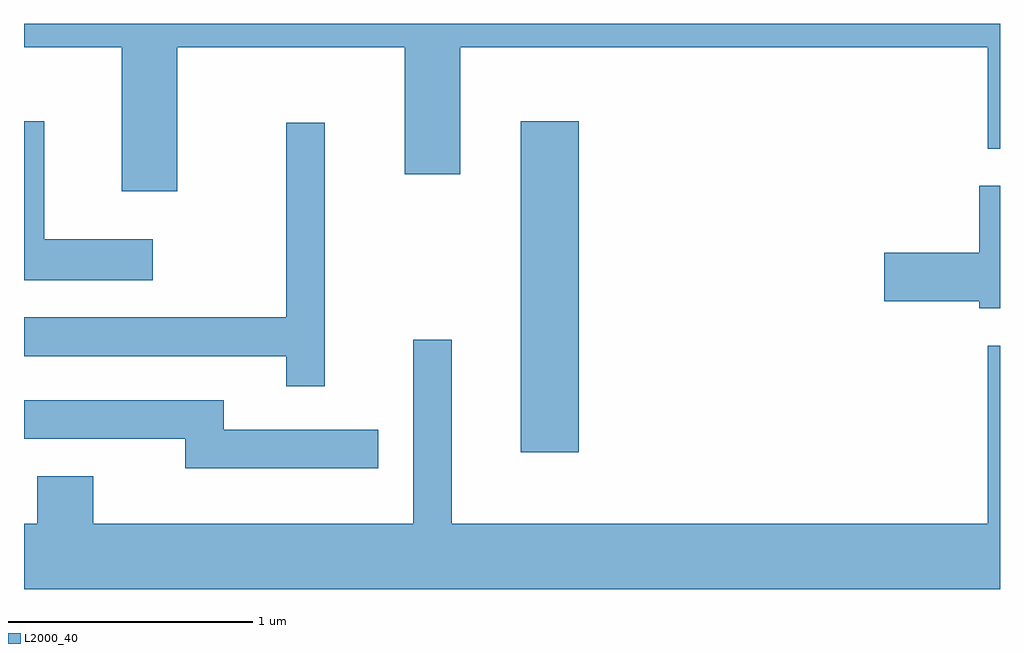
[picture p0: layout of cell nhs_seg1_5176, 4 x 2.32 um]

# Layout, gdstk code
import gdstk
lib = gdstk.Library(unit=1e-6, precision=1e-09)
def R(c, l, rs):  # rectangles x0, y0, x1, y1
    for r in rs: c.add(gdstk.rectangle(r[:2], r[2:], *l))
def P(c, l, *ps):  # polygons
    for p in ps: c.add(gdstk.Polygon(p, *l))
L2000_40 = (2000, 40)

nhs_seg1_5176 = lib.new_cell('nhs_seg1_5176')
R(nhs_seg1_5176, L2000_40, [(343.646,857.956,343.884,859.314)])
P(nhs_seg1_5176, L2000_40, [(342.239,859.616),(343.171,859.616),(343.171,859.096),(343.399,859.096),(343.399,859.616),(345.561,859.616),(345.561,859.201),(345.611,859.201),(345.611,859.712),(341.611,859.712),(341.611,859.616),(342.011,859.616),(342.011,859.026),(342.239,859.026)],
  [(342.138,858.829),(341.694,858.829),(341.694,859.314),(341.611,859.314),(341.611,858.661),(342.138,858.661)],
  [(342.844,859.308),(342.686,859.308),(342.686,858.509),(341.611,858.509),(341.611,858.351),(342.686,858.351),(342.686,858.228),(342.844,858.228)],
  [(345.611,859.049),(345.526,859.049),(345.526,858.774),(345.136,858.774),(345.136,858.576),(345.526,858.576),(345.526,858.546),(345.611,858.546)],
  [(345.611,858.394),(345.561,858.394),(345.561,857.664),(343.364,857.664),(343.364,858.418),(343.206,858.418),(343.206,857.664),(341.894,857.664),(341.894,857.859),(341.666,857.859),(341.666,857.664),(341.611,857.664),(341.611,857.396),(345.611,857.396)],
  [(343.063,858.049),(342.429,858.049),(342.429,858.169),(341.611,858.169),(341.611,858.011),(342.271,858.011),(342.271,857.891),(343.063,857.891)])

lib.write_gds('nhs_seg1_5176.gds')
